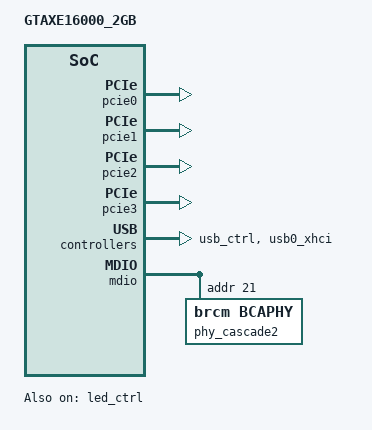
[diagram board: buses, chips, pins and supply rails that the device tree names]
#include "4912.dtsi"

/ {
	model="GTAXE16000_2GB";

	memory_controller {
		memcfg = <(BP_DDR_TYPE_DDR4       | \
			BP_DDR_SPEED_1600_22_22_22    | \
			BP_DDR_TOTAL_SIZE_2048MB      | \
			BP_DDR_DEVICE_WIDTH_16        | \
			BP_DDR_TOTAL_WIDTH_32BIT      | \
			BP_DDR_TEMP_EXTENDED_ASR      | \
			BP_DDR_SSC_CONFIG_1)>;
	};
/*
    buttons: buttons {
        compatible = "brcm,buttons";
        // disable reset button for now. GPIO_51 seems trigger by itself
        // suggest to use another GPIO pin 
	reset_button {
            ext_irq = <&bca_extintr 13 BCA_GPIO_ACTIVE_LOW (BCA_EXTINTR_TYPE_LOW_LEVEL | BCA_EXTINTR_TYPE_SENSE_EDGE)>;
            press {
                    print = "Button Press -- Hold for 5s to do restore to default";
            };
            hold {
                    rst_to_dflt = <5>;
            };
            release {
                    reset = <0>;
            };
        };
        ses_button {
            ext_irq = <&bca_extintr 12 BCA_GPIO_ACTIVE_LOW (BCA_EXTINTR_TYPE_LOW_LEVEL | BCA_EXTINTR_TYPE_SENSE_EDGE)>;
            release {
                    ses_short_period = <0>;
                    ses_long_period = <3>;
            };
        };
    };
*/
};

&nand {
	write-protect = <1>;
};

&pcie0 {
	status = "okay";
};
&pcie1 {
	status = "okay";
};
&pcie2 {
	status = "okay";
};
&pcie3 {
	status = "okay";
};

&usb_ctrl {
	pinctrl-names = "default";
	pinctrl-0 = <&usb0_pwr_pins &usb1_pwr_pins>;
	status = "okay";
	pwron-bias-pull-up;
	xhci-enable;
};

&usb0_xhci {
	status = "okay";
};

&mdio {
	phy1:1 {
		status = "okay";
	};

	phy2:2 {
		status = "okay";
	};

	phy3:3 {
		status = "okay";
	};

	phy4:4 {
		status = "okay";
	};

	phy_rgmii: rgmii {
		status = "disabled";
	};

	phy_cascade0:9 {
		reg = <17>;
		status = "okay";
	};

	phy_serdes0:6 {
		phy-handle = <&phy_cascade0>;
		status = "okay";
	};

	phy_cascade1:10 {
		reg = <19>;
		status = "okay";
	};

	phy_serdes1:7 {
		phy-handle = <&phy_cascade1>;
		status = "okay";
	};

	phy_cascade2:c2 {
		compatible = "brcm,bcaphy";
		phy-type = "EXT3";
		reg = <21>;
		phy-external;
		status = "okay";
	};

	phy_serdes2:8 {
		phy-handle = <&phy_cascade2>;
		status = "okay";
	};

};

&switch0 {
	ports {
		port0@0 {
			status = "okay";
			label = "eth2";
		};

		port1@1 {
			status = "okay";
			label = "eth4";
		};

		port2@2 {
			status = "okay";
			label = "eth3";
		};

		port3@3 {
			status = "okay";
			label = "eth1";
		};

		port5@5 {
			status = "okay";
			label = "eth0";
		};

		port6@6 {
			status = "okay";
			label = "eth5";
		};

		port7@7 {
			status = "okay";
			label = "eth6";
		};
	};
};

&led_ctrl {
    status="okay";

	/* CLED */
	/* LED_1A_R */
	led2: sw_parallel_led_2 {
		pinctrl-0 = <&a_per_led_02_pin_2>;
		active_high;
		status="okay";
		brightness = <0>;
	};
    	/* LED_1A_B */
	led3: sw_parallel_led_3 {
		pinctrl-0 = <&a_per_led_03_pin_3>;
		active_high;
		status="okay";
		brightness = <0>;
	};
	/* LED_1A_G */
	led4: sw_parallel_led_4 {
		pinctrl-0 = <&a_per_led_04_pin_4>;
		active_high;
		status="okay";
		brightness = <0>;
	};

	/* LED_1B_R */
	led5: sw_parallel_led_5 {
		pinctrl-0 = <&a_per_led_05_pin_5>;
		active_high;
		status="okay";
		brightness = <0>;
	};
	/* LED_1B_B */
	led7: sw_parallel_led_7 {
		pinctrl-0 = <&a_per_led_07_pin_7>;
		active_high;
		status="okay";
		brightness = <0>;
	};
	/* LED_1B_G */
	led8: sw_parallel_led_8 {
		pinctrl-0 = <&a_per_led_08_pin_8>;
		active_high;
		status="okay";
		brightness = <0>;
	};

	/* LED_1C_R */
	led14: sw_parallel_led_14 {
		pinctrl-0 = <&b_per_led_14_pin_40>;
		active_high;
		status="okay";
		brightness = <0>;
	};
	/* LED_1C_B */
	led15: sw_parallel_led_15 {
		pinctrl-0 = <&b_per_led_15_pin_41>;
		active_high;
		status="okay";
		brightness = <0>;
	};
	/* LED_1C_G */
	led16: sw_parallel_led_16 {
		pinctrl-0 = <&b_per_led_16_pin_42>;
		active_high;
		status="okay";
		brightness = <0>;
	};

	/* LED_WAN_R */
//	led18: sw_parallel_led_18 {
//		pinctrl-0 = <&b_per_led_18_pin_44>;
//		active_low;
//		status="okay";
//		brightness = <0>;
//	};
	/* LED_WAN_G */
//	led19: sw_parallel_led_19 {
//		pinctrl-0 = <&b_per_led_19_pin_45>;
//		active_low;
//		status="okay";
//		brightness = <0>;
//	};
	/* LED_WAN_B */
//	led20: sw_parallel_led_20 {
//		pinctrl-0 = <&b_per_led_20_pin_46>;
//		active_low;
//		status="okay";
//		brightness = <0>;
//	};

	/* LED_10G_R */
//	led21: sw_parallel_led_21 {
//		pinctrl-0 = <&b_per_led_21_pin_47>;
//		active_low;
//		status="okay";
//		brightness = <0>;
//	};
	/* LED_10G_G */
//	led22: sw_parallel_led_22 {
//		pinctrl-0 = <&b_per_led_22_pin_48>;
//		active_low;
//		status="okay";
//		brightness = <0>;
//	};
	/* LED_10G_B */
//	led23: sw_parallel_led_23 {
//		pinctrl-0 = <&b_per_led_23_pin_49>;
//		active_low;
//		status="okay";
//		brightness = <0>;
//	};


	/* GPIO LED */
	/* LAN_LED */
	led1:led_gpio_1 {
		compatible = "brcm,gpio-led";
		software_led;
		pin = <1>;
		active_low;
		init_high;
	};

	/* POWER_LED */
	led50:led_gpio_50 {
		compatible = "brcm,gpio-led";
		software_led;
		pin = <50>;
		active_low;
		init_low;
	};

	/* WAN_LED_R */
	led44:led_gpio_44 {
		compatible = "brcm,gpio-led";
		software_led;
		pin = <44>;
		active_low;
		init_high;
	};

	/* WAN_LED_G */
	led45:led_gpio_45 {
		compatible = "brcm,gpio-led";
		software_led;
		pin = <45>;
		active_low;
		init_high;
	};

	/* WAN_LED_B */
	led46:led_gpio_46 {
		compatible = "brcm,gpio-led";
		software_led;
		pin = <46>;
		active_low;
		init_high;
	};

	/* 10G_LED_R */
	led47:led_gpio_47 {
		compatible = "brcm,gpio-led";
		software_led;
		pin = <47>;
		active_low;
		init_high;
	};

	/* 10G_LED_G */
	led48:led_gpio_48 {
		compatible = "brcm,gpio-led";
		software_led;
		pin = <48>;
		active_low;
		init_high;
	};

	/* 10G_LED_B */
	led49:led_gpio_49 {
		compatible = "brcm,gpio-led";
		software_led;
		pin = <49>;
		active_low;
		init_high;
	};

	/* 10G_LED_WHITE */
	led43:led_gpio_43 {
		compatible = "brcm,gpio-led";
		software_led;
		pin = <43>;
		active_high;
		init_low;
	};

	/* WAN_LED_WHITE */
	led52:led_gpio_52 {
		compatible = "brcm,gpio-led";
		software_led;
		pin = <52>;
		active_high;
		init_low;
	};
};
